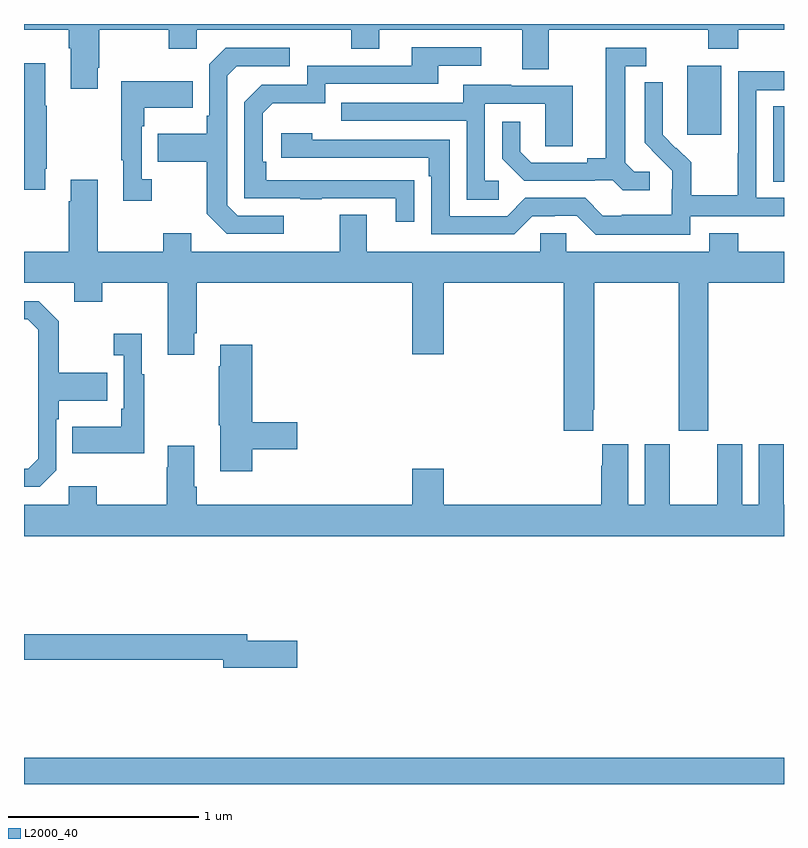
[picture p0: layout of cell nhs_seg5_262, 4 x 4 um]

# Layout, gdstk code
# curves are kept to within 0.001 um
import gdstk
lib = gdstk.Library(unit=1e-6, precision=1e-09)
def R(c, l, rs):  # rectangles x0, y0, x1, y1
    for r in rs: c.add(gdstk.rectangle(r[:2], r[2:], *l))
def P(c, l, *ps):  # polygons
    for p in ps: c.add(gdstk.Polygon(p, *l))
L2000_40 = (2000, 40)

nhs_seg5_262 = lib.new_cell('nhs_seg5_262')
R(nhs_seg5_262, L2000_40, [(127,844.799,131,844.936), (130.943,847.969,131,848.366), (130.49,848.217,130.669,848.578)])
P(nhs_seg5_262, L2000_40, [(131,848.799),(127,848.799),(127,848.768),(127.235,848.768),(127.235,848.672),(127.247,848.672),(127.247,848.457),(127.387,848.457),(127.387,848.569),(127.395,848.569),(127.395,848.768),(127.762,848.768),(127.762,848.669),(127.908,848.669),(127.908,848.768),(128.722,848.768),(128.722,848.669),(128.869,848.669),(128.869,848.768),(129.623,848.768),(129.623,848.56),(129.763,848.56),(129.763,848.768),(130.6,848.768),(130.6,848.669),(130.76,848.669),(130.76,848.768),(131,848.768)],
  [(129.053,847.976),(128.276,847.977),(128.276,848.074),(128.256,848.074),(128.256,848.328),(128.309,848.381),(128.586,848.381),(128.586,848.484),(129.181,848.484),(129.181,848.58),(129.406,848.58),(129.406,848.676),(129.041,848.676),(129.041,848.58),(128.49,848.58),(128.49,848.478),(128.25,848.478),(128.16,848.388),(128.16,847.881),(128.455,847.881),(128.455,847.876),(128.567,847.876),(128.567,847.881),(128.957,847.881),(128.957,847.758),(129.053,847.758)],
  [(130.294,848.022),(130.212,848.022),(130.165,848.069),(130.165,848.577),(130.276,848.577),(130.276,848.673),(130.061,848.673),(130.061,848.093),(129.965,848.093),(129.965,848.07),(129.67,848.07),(129.613,848.127),(129.613,848.284),(129.516,848.284),(129.516,848.09),(129.632,847.974),(130.004,847.974),(130.004,847.977),(130.098,847.977),(130.15,847.925),(130.294,847.925)],
  [(128.368,847.791),(128.124,847.791),(128.07,847.845),(128.07,848.526),(128.121,848.577),(128.398,848.577),(128.398,848.673),(128.061,848.673),(127.974,848.586),(127.974,848.317),(127.962,848.317),(127.962,848.221),(127.705,848.221),(127.705,848.074),(127.962,848.074),(127.962,847.801),(128.067,847.695),(128.368,847.695)],
  [(127.111,848.038),(127.119,848.038),(127.119,848.369),(127.111,848.369),(127.111,848.593),(127,848.593),(127,847.926),(127.111,847.926)],
  [(130.506,847.788),(131,847.788),(131,847.884),(130.854,847.884),(130.854,848.451),(131,848.451),(131,848.55),(130.758,848.55),(130.758,848.12),(130.756,848.12),(130.756,847.897),(130.511,847.897),(130.511,848.071),(130.434,848.148),(130.431,848.145),(130.361,848.216),(130.362,848.492),(130.266,848.492),(130.266,848.174),(130.412,848.026),(130.412,847.929),(130.41,847.929),(130.41,847.795),(130.147,847.795),(130.147,847.791),(130.047,847.791),(129.954,847.884),(129.639,847.884),(129.543,847.788),(129.24,847.788),(129.24,848.19),(128.516,848.19),(128.516,848.224),(128.355,848.224),(128.355,848.094),(129.131,848.094),(129.131,847.997),(129.144,847.997),(129.144,847.692),(129.579,847.692),(129.675,847.788),(129.794,847.788),(129.794,847.791),(129.909,847.791),(130.009,847.691),(130.506,847.691)],
  [(127.672,847.982),(127.62,847.982),(127.62,848.261),(127.633,848.261),(127.633,848.357),(127.889,848.357),(127.889,848.497),(127.512,848.497),(127.512,848.081),(127.523,848.081),(127.523,847.869),(127.672,847.869)],
  [(129.499,847.974),(129.426,847.974),(129.426,848.379),(129.744,848.379),(129.744,848.155),(129.889,848.155),(129.889,848.475),(129.565,848.475),(129.565,848.479),(129.311,848.479),(129.311,848.385),(128.671,848.385),(128.671,848.289),(129.33,848.289),(129.33,847.873),(129.499,847.873)],
  [(129.997,846.769),(130.002,846.769),(130.002,847.436),(130.447,847.436),(130.447,846.657),(130.602,846.657),(130.602,847.436),(131,847.436),(131,847.6),(130.76,847.6),(130.76,847.699),(130.607,847.699),(130.607,847.6),(129.855,847.6),(129.855,847.698),(129.717,847.698),(129.717,847.6),(128.803,847.6),(128.803,847.795),(128.663,847.795),(128.663,847.6),(127.879,847.6),(127.879,847.699),(127.732,847.699),(127.732,847.6),(127.387,847.6),(127.387,847.978),(127.247,847.978),(127.247,847.865),(127.235,847.865),(127.235,847.6),(127,847.6),(127,847.436),(127.265,847.436),(127.265,847.337),(127.413,847.337),(127.413,847.436),(127.757,847.436),(127.757,847.059),(127.897,847.059),(127.897,847.171),(127.91,847.171),(127.91,847.436),(129.044,847.436),(129.044,847.062),(129.208,847.062),(129.208,847.436),(129.842,847.436),(129.842,846.657),(129.997,846.657)],
  [(127.17,846.45),(127.17,846.719),(127.183,846.719),(127.183,846.815),(127.439,846.815),(127.439,846.963),(127.183,846.963),(127.183,847.235),(127.077,847.341),(127,847.341),(127,847.245),(127.02,847.245),(127.074,847.191),(127.074,846.51),(127.023,846.459),(127,846.459),(127,846.363),(127.083,846.363)],
  [(127.633,846.955),(127.621,846.955),(127.621,847.168),(127.473,847.168),(127.473,847.055),(127.524,847.055),(127.524,846.775),(127.512,846.775),(127.512,846.679),(127.255,846.679),(127.255,846.539),(127.633,846.539)],
  [(128.201,846.562),(128.437,846.562),(128.437,846.704),(128.201,846.704),(128.201,847.111),(128.033,847.111),(128.033,846.998),(128.026,846.998),(128.026,846.687),(128.033,846.687),(128.033,846.444),(128.201,846.444)],
  [(127.236,846.367),(127.236,846.268),(127,846.268),(127,846.104),(131,846.104),(131,846.268),(130.999,846.268),(130.999,846.586),(130.868,846.586),(130.868,846.268),(130.78,846.268),(130.78,846.586),(130.649,846.586),(130.649,846.268),(130.399,846.268),(130.399,846.586),(130.268,846.586),(130.268,846.268),(130.18,846.268),(130.18,846.586),(130.043,846.586),(130.043,846.473),(130.037,846.473),(130.037,846.268),(129.208,846.268),(129.208,846.457),(129.044,846.457),(129.044,846.268),(127.91,846.268),(127.91,846.364),(127.897,846.364),(127.897,846.58),(127.757,846.58),(127.757,846.467),(127.75,846.467),(127.75,846.268),(127.383,846.268),(127.383,846.367)],
  [(128.437,845.552),(128.176,845.552),(128.176,845.588),(127,845.588),(127,845.452),(128.048,845.452),(128.048,845.41),(128.437,845.41)])

lib.write_gds('nhs_seg5_262.gds')
